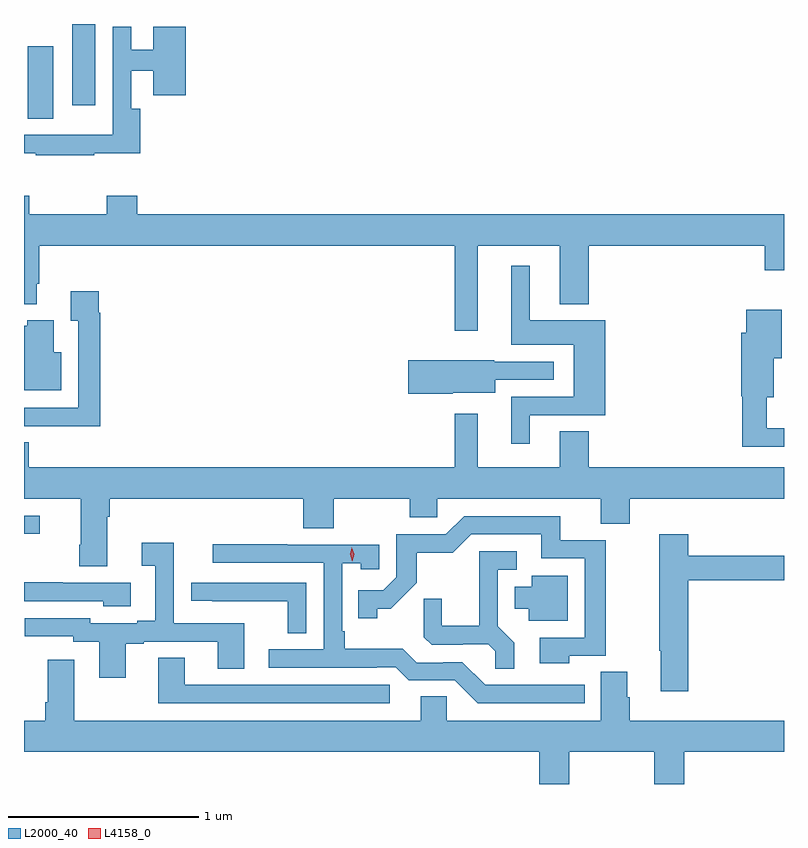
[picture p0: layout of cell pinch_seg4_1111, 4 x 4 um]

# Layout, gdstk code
import gdstk
lib = gdstk.Library(unit=1e-6, precision=1e-09)
def R(c, l, rs):  # rectangles x0, y0, x1, y1
    for r in rs: c.add(gdstk.rectangle(r[:2], r[2:], *l))
def P(c, l, *ps):  # polygons
    for p in ps: c.add(gdstk.Polygon(p, *l))
L2000_40 = (2000, 40)
L4158_0 = (4158, 0)

pinch_seg4_1111 = lib.new_cell('pinch_seg4_1111')
R(pinch_seg4_1111, L2000_40, [(445.938,808.623,446.02,808.719), (445.958,810.808,446.092,811.189), (446.192,810.879,446.314,811.306)])
P(pinch_seg4_1111, L2000_40, [(446.309,810.625),(446.549,810.625),(446.549,810.859),(446.502,810.859),(446.502,811.061),(446.618,811.061),(446.618,810.93),(446.789,810.93),(446.789,811.291),(446.618,811.291),(446.618,811.171),(446.502,811.171),(446.502,811.291),(446.406,811.291),(446.406,810.724),(446.196,810.724),(446.196,810.723),(445.938,810.723),(445.938,810.625),(445.999,810.625),(445.999,810.615),(446.309,810.615)],
  [(448.327,810.14),(448.757,810.14),(448.757,809.831),(448.91,809.831),(448.91,810.14),(449.837,810.14),(449.837,810.009),(449.938,810.009),(449.938,810.304),(446.534,810.304),(446.534,810.403),(446.374,810.403),(446.374,810.304),(445.965,810.304),(445.965,810.403),(445.938,810.403),(445.938,809.831),(446.005,809.831),(446.005,809.938),(446.018,809.938),(446.018,810.14),(448.206,810.14),(448.206,809.691),(448.327,809.691)],
  [(448.6,809.247),(448.996,809.247),(448.996,809.746),(448.6,809.746),(448.6,810.034),(448.502,810.034),(448.502,809.618),(448.832,809.618),(448.832,809.343),(448.502,809.343),(448.502,809.097),(448.6,809.097)],
  [(446.339,809.786),(446.332,809.786),(446.332,809.899),(446.183,809.899),(446.183,809.743),(446.223,809.743),(446.223,809.286),(445.938,809.286),(445.938,809.19),(446.047,809.19),(446.047,809.189),(446.339,809.189)],
  [(449.938,809.179),(449.848,809.179),(449.848,809.342),(449.884,809.342),(449.884,809.546),(449.926,809.546),(449.926,809.803),(449.738,809.803),(449.738,809.682),(449.714,809.682),(449.714,809.346),(449.719,809.346),(449.719,809.082),(449.938,809.082)],
  [(446.134,809.578),(446.095,809.578),(446.095,809.746),(445.956,809.746),(445.956,809.718),(445.938,809.718),(445.938,809.378),(446.134,809.378)],
  [(448.194,809.366),(448.417,809.366),(448.417,809.433),(448.726,809.433),(448.726,809.529),(448.413,809.529),(448.413,809.537),(447.96,809.537),(447.96,809.359),(448.194,809.359)],
  [(446.377,808.712),(446.39,808.712),(446.39,808.808),(447.407,808.808),(447.407,808.651),(447.567,808.651),(447.567,808.808),(447.967,808.808),(447.967,808.71),(448.113,808.71),(448.113,808.808),(448.973,808.808),(448.973,808.675),(449.126,808.675),(449.126,808.808),(449.938,808.808),(449.938,808.972),(448.91,808.972),(448.91,809.162),(448.757,809.162),(448.757,808.972),(448.327,808.972),(448.327,809.254),(448.206,809.254),(448.206,808.972),(445.964,808.972),(445.964,809.105),(445.938,809.105),(445.938,808.808),(446.237,808.808),(446.237,808.564),(446.23,808.564),(446.23,808.452),(446.377,808.452)],
  [(448.809,807.981),(448.999,807.981),(448.999,808.59),(448.76,808.59),(448.76,808.716),(448.254,808.716),(448.158,808.62),(447.897,808.62),(447.897,808.395),(447.828,808.326),(447.697,808.326),(447.697,808.179),(447.798,808.179),(447.798,808.229),(447.868,808.229),(448.006,808.366),(448.006,808.522),(448.195,808.522),(448.293,808.62),(448.661,808.62),(448.661,808.494),(448.89,808.494),(448.89,808.077),(448.653,808.077),(448.653,807.941),(448.809,807.941)],
  [(449.435,808.378),(449.938,808.378),(449.938,808.507),(449.435,808.507),(449.435,808.621),(449.281,808.621),(449.281,808.007),(449.288,808.007),(449.288,807.795),(449.435,807.795)],
  [(446.473,808.044),(446.569,808.044),(446.569,808.056),(446.957,808.056),(446.957,807.913),(447.097,807.913),(447.097,808.152),(446.727,808.152),(446.727,808.576),(446.559,808.576),(446.559,808.456),(446.63,808.456),(446.63,808.165),(446.534,808.165),(446.534,808.152),(446.286,808.152),(446.286,808.179),(445.941,808.179),(445.941,808.083),(446.196,808.083),(446.196,808.056),(446.333,808.056),(446.333,807.864),(446.473,807.864)],
  [(448.888,807.828),(448.365,807.828),(448.245,807.948),(448.144,807.948),(448.144,807.945),(448.005,807.945),(447.932,808.018),(447.625,808.018),(447.625,808.111),(447.612,808.111),(447.612,808.469),(447.711,808.469),(447.711,808.437),(447.807,808.437),(447.807,808.566),(447.323,808.566),(447.323,808.569),(446.931,808.569),(446.931,808.47),(447.516,808.47),(447.516,808.014),(447.225,808.014),(447.225,807.918),(447.794,807.918),(447.794,807.921),(447.894,807.921),(447.963,807.852),(448.206,807.852),(448.326,807.732),(448.888,807.732)],
  [(448.517,808.049),(448.431,808.135),(448.431,808.434),(448.531,808.434),(448.531,808.53),(448.334,808.53),(448.334,808.138),(448.136,808.138),(448.136,808.281),(448.042,808.281),(448.042,808.079),(448.083,808.038),(448.248,808.038),(448.248,808.041),(448.382,808.041),(448.419,808.004),(448.419,807.913),(448.517,807.913)],
  [(448.801,808.402),(448.61,808.402),(448.61,808.345),(448.52,808.345),(448.52,808.229),(448.595,808.229),(448.595,808.166),(448.801,808.166)],
  [(446.5,808.365),(446.141,808.365),(446.141,808.368),(445.938,808.368),(445.938,808.269),(446.355,808.269),(446.355,808.241),(446.5,808.241)],
  [(447.423,808.365),(446.817,808.365),(446.817,808.27),(446.929,808.27),(446.929,808.269),(447.325,808.269),(447.325,808.099),(447.423,808.099)],
  [(447.862,807.828),(446.785,807.828),(446.785,807.971),(446.645,807.971),(446.645,807.732),(447.862,807.732)],
  [(448.809,807.476),(449.254,807.476),(449.254,807.306),(449.414,807.306),(449.414,807.476),(449.938,807.476),(449.938,807.64),(449.126,807.64),(449.126,807.762),(449.113,807.762),(449.113,807.896),(448.973,807.896),(448.973,807.64),(448.164,807.64),(448.164,807.767),(448.025,807.767),(448.025,807.64),(446.203,807.64),(446.203,807.961),(446.063,807.961),(446.063,807.736),(446.051,807.736),(446.051,807.64),(445.938,807.64),(445.938,807.476),(448.649,807.476),(448.649,807.306),(448.809,807.306)])
P(pinch_seg4_1111, L4158_0, [(447.665,808.479),(447.665,808.479),(447.655,808.514),(447.664,808.55),(447.664,808.551),(447.664,808.55),(447.675,808.515),(447.665,808.479)])

lib.write_gds('pinch_seg4_1111.gds')
